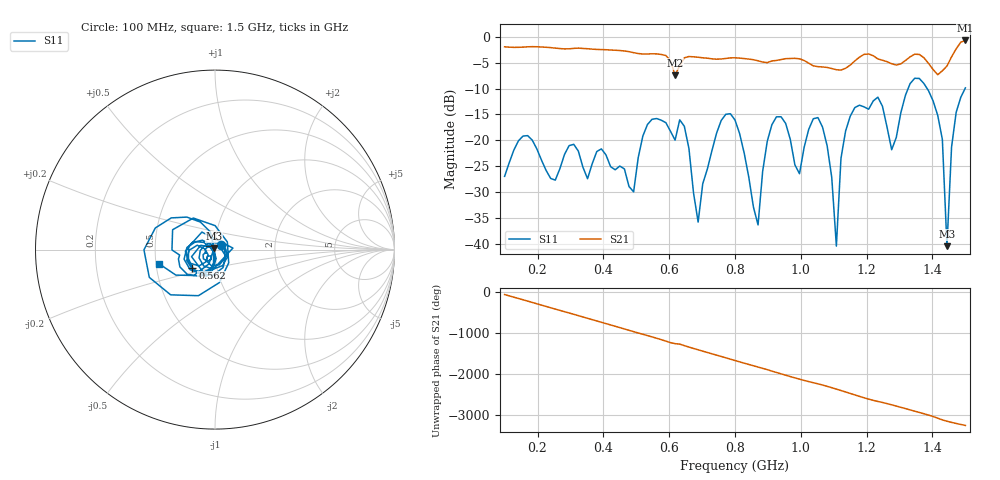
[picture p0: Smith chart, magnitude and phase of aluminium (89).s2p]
! NanoVNA-App
! Date: 2025-09-25 14:55:58
! Start: 100MHz Stop: 1,5GHz Points: 101
! S-Parameter data: F S11 S21 S12 S22
# Hz S RI R 50
!  Frequency  S11_Real  S11_Imag  S21_Real  S21_Imag  S12_Real  S12_Imag  S22_Real  S22_Imag
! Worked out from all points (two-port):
!   101 points, 100 MHz to 1.5 GHz, reference 50 ohm
!   highest |S21| = -0.69 dB at 1.5 GHz (marker M1); lowest = -7.4 dB at 618 MHz (marker M2)
!   |S21| within 3 dB of the highest: start of sweep to 591.2 MHz; 1.184 GHz to 1.221 GHz (36.84 MHz wide, 3.06 % of centre) (the widest 2 of 4)
!   lowest |S11| = -40.5 dB at 1.444 GHz (marker M3), VSWR 1.02, Z = 49.4 + j0.747 ohm
!   |S11| at or under -10 dB: start of sweep to 1.326 GHz; 1.384 GHz to 1.499 GHz (115.3 MHz wide, 8 % of centre)
!   S12 and S22 are empty: the file has one direction only
!   S11 on the Smith chart (normalised r, x): 100 MHz: 1.07, +0.06; 562 MHz: 0.76, -0.16; 1.5 GHz: 0.52, -0.09
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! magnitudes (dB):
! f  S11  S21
! 100 MHz  -27.0  -1.9
! 338 MHz  -25.2  -2.2
! 492 MHz  -30.0  -3.1
! 562 MHz  -15.8  -3.3
! 576 MHz  -16.1  -3.4
! 618 MHz  -20.0  -7.4
! 688 MHz  -35.8  -3.9
! 800 MHz  -16.1  -4.0
! 870 MHz  -36.4  -4.6
! 912 MHz  -17.0  -4.7
! 996 MHz  -26.5  -4.2
! 1.038 GHz  -15.8  -5.6
! 1.08 GHz  -21.1  -5.9
! 1.108 GHz  -40.5  -6.4
! 1.122 GHz  -23.5  -6.4
! 1.164 GHz  -13.7  -4.7
! 1.276 GHz  -21.8  -5.2
! 1.388 GHz  -10.4  -5.1
! 1.43 GHz  -19.8  -6.6
! 1.444 GHz  -40.5  -5.6
! 1.458 GHz  -21.3  -3.9
! 1.5 GHz  -9.9  -0.7
